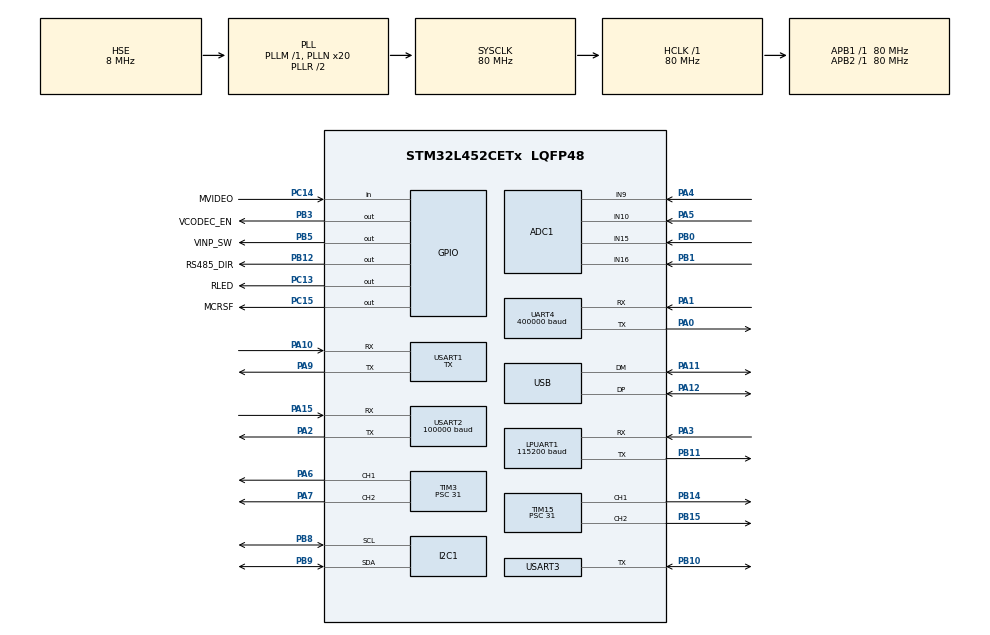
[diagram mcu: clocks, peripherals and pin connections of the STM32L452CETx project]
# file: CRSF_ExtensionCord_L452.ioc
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ADC1.Channel-0\#ChannelRegularConversion=ADC_CHANNEL_9
ADC1.Channel-1\#ChannelRegularConversion=ADC_CHANNEL_10
ADC1.Channel-2\#ChannelRegularConversion=ADC_CHANNEL_15
ADC1.Channel-3\#ChannelRegularConversion=ADC_CHANNEL_16
ADC1.ClockPrescaler=ADC_CLOCK_ASYNC_DIV1
ADC1.ContinuousConvMode=ENABLE
ADC1.DMAContinuousRequests=ENABLE
ADC1.EOCSelection=ADC_EOC_SEQ_CONV
ADC1.NbrOfConversion=4
ADC1.NbrOfConversionFlag=1
ADC1.OffsetNumber-0\#ChannelRegularConversion=ADC_OFFSET_NONE
ADC1.OffsetNumber-1\#ChannelRegularConversion=ADC_OFFSET_NONE
ADC1.OffsetNumber-2\#ChannelRegularConversion=ADC_OFFSET_NONE
ADC1.OffsetNumber-3\#ChannelRegularConversion=ADC_OFFSET_NONE
ADC1.OversamplingMode=DISABLE
ADC1.Rank-0\#ChannelRegularConversion=1
ADC1.Rank-1\#ChannelRegularConversion=2
ADC1.Rank-2\#ChannelRegularConversion=3
ADC1.Rank-3\#ChannelRegularConversion=4
ADC1.SamplingTime-0\#ChannelRegularConversion=ADC_SAMPLETIME_640CYCLES_5
ADC1.SamplingTime-1\#ChannelRegularConversion=ADC_SAMPLETIME_640CYCLES_5
ADC1.SamplingTime-2\#ChannelRegularConversion=ADC_SAMPLETIME_640CYCLES_5
ADC1.SamplingTime-3\#ChannelRegularConversion=ADC_SAMPLETIME_640CYCLES_5
ADC1.master=1
Dma.ADC1.6.Direction=DMA_PERIPH_TO_MEMORY
Dma.ADC1.6.Instance=DMA1_Channel1
Dma.ADC1.6.MemDataAlignment=DMA_MDATAALIGN_HALFWORD
Dma.ADC1.6.MemInc=DMA_MINC_ENABLE
Dma.ADC1.6.Mode=DMA_CIRCULAR
Dma.ADC1.6.PeriphDataAlignment=DMA_PDATAALIGN_HALFWORD
Dma.ADC1.6.PeriphInc=DMA_PINC_DISABLE
Dma.ADC1.6.Priority=DMA_PRIORITY_LOW
Dma.LPUART_TX.2.Direction=DMA_MEMORY_TO_PERIPH
Dma.LPUART_TX.2.Instance=DMA2_Channel6
Dma.LPUART_TX.2.MemDataAlignment=DMA_MDATAALIGN_BYTE
Dma.LPUART_TX.2.MemInc=DMA_MINC_ENABLE
Dma.LPUART_TX.2.Mode=DMA_NORMAL
Dma.LPUART_TX.2.PeriphDataAlignment=DMA_PDATAALIGN_BYTE
Dma.LPUART_TX.2.PeriphInc=DMA_PINC_DISABLE
Dma.LPUART_TX.2.Priority=DMA_PRIORITY_LOW
Dma.Request0=UART4_RX
Dma.Request1=UART4_TX
Dma.Request2=LPUART_TX
Dma.Request3=USART1_TX
Dma.Request4=USART2_RX
Dma.Request5=USART2_TX
Dma.Request6=ADC1
Dma.Request7=USART3_RX
Dma.Request8=USART3_TX
Dma.UART4_RX.0.Direction=DMA_PERIPH_TO_MEMORY
Dma.UART4_RX.0.Instance=DMA2_Channel5
Dma.UART4_RX.0.MemDataAlignment=DMA_MDATAALIGN_BYTE
Dma.UART4_RX.0.MemInc=DMA_MINC_ENABLE
Dma.UART4_RX.0.Mode=DMA_NORMAL
Dma.UART4_RX.0.PeriphDataAlignment=DMA_PDATAALIGN_BYTE
Dma.UART4_RX.0.PeriphInc=DMA_PINC_DISABLE
Dma.UART4_RX.0.Priority=DMA_PRIORITY_LOW
Dma.UART4_TX.1.Direction=DMA_MEMORY_TO_PERIPH
Dma.UART4_TX.1.Instance=DMA2_Channel3
Dma.UART4_TX.1.MemDataAlignment=DMA_MDATAALIGN_BYTE
Dma.UART4_TX.1.MemInc=DMA_MINC_ENABLE
Dma.UART4_TX.1.Mode=DMA_NORMAL
Dma.UART4_TX.1.PeriphDataAlignment=DMA_PDATAALIGN_BYTE
Dma.UART4_TX.1.PeriphInc=DMA_PINC_DISABLE
Dma.UART4_TX.1.Priority=DMA_PRIORITY_LOW
Dma.USART1_TX.3.Direction=DMA_MEMORY_TO_PERIPH
Dma.USART1_TX.3.Instance=DMA1_Channel4
Dma.USART1_TX.3.MemDataAlignment=DMA_MDATAALIGN_BYTE
Dma.USART1_TX.3.MemInc=DMA_MINC_ENABLE
Dma.USART1_TX.3.Mode=DMA_NORMAL
Dma.USART1_TX.3.PeriphDataAlignment=DMA_PDATAALIGN_BYTE
Dma.USART1_TX.3.PeriphInc=DMA_PINC_DISABLE
Dma.USART1_TX.3.Priority=DMA_PRIORITY_LOW
Dma.USART2_RX.4.Direction=DMA_PERIPH_TO_MEMORY
Dma.USART2_RX.4.Instance=DMA1_Channel6
Dma.USART2_RX.4.MemDataAlignment=DMA_MDATAALIGN_BYTE
Dma.USART2_RX.4.MemInc=DMA_MINC_ENABLE
Dma.USART2_RX.4.Mode=DMA_NORMAL
Dma.USART2_RX.4.PeriphDataAlignment=DMA_PDATAALIGN_BYTE
Dma.USART2_RX.4.PeriphInc=DMA_PINC_DISABLE
Dma.USART2_RX.4.Priority=DMA_PRIORITY_LOW
Dma.USART2_TX.5.Direction=DMA_MEMORY_TO_PERIPH
Dma.USART2_TX.5.Instance=DMA1_Channel7
Dma.USART2_TX.5.MemDataAlignment=DMA_MDATAALIGN_BYTE
Dma.USART2_TX.5.MemInc=DMA_MINC_ENABLE
Dma.USART2_TX.5.Mode=DMA_NORMAL
Dma.USART2_TX.5.PeriphDataAlignment=DMA_PDATAALIGN_BYTE
Dma.USART2_TX.5.PeriphInc=DMA_PINC_DISABLE
Dma.USART2_TX.5.Priority=DMA_PRIORITY_LOW
Dma.USART3_RX.7.Direction=DMA_PERIPH_TO_MEMORY
Dma.USART3_RX.7.Instance=DMA1_Channel3
Dma.USART3_RX.7.MemDataAlignment=DMA_MDATAALIGN_BYTE
Dma.USART3_RX.7.MemInc=DMA_MINC_ENABLE
Dma.USART3_RX.7.Mode=DMA_NORMAL
Dma.USART3_RX.7.PeriphDataAlignment=DMA_PDATAALIGN_BYTE
Dma.USART3_RX.7.PeriphInc=DMA_PINC_DISABLE
Dma.USART3_RX.7.Priority=DMA_PRIORITY_LOW
Dma.USART3_TX.8.Direction=DMA_MEMORY_TO_PERIPH
Dma.USART3_TX.8.Instance=DMA1_Channel2
Dma.USART3_TX.8.MemDataAlignment=DMA_MDATAALIGN_BYTE
Dma.USART3_TX.8.MemInc=DMA_MINC_ENABLE
Dma.USART3_TX.8.Mode=DMA_NORMAL
Dma.USART3_TX.8.PeriphDataAlignment=DMA_PDATAALIGN_BYTE
Dma.USART3_TX.8.PeriphInc=DMA_PINC_DISABLE
Dma.USART3_TX.8.Priority=DMA_PRIORITY_LOW
I2C1.Timing=0x10909CEC
LPUART1.BaudRate=115200
LPUART1.Mode=UART_MODE_TX
LPUART1.WordLength=UART_WORDLENGTH_8B
Mcu.Family=STM32L4
Mcu.Name=STM32L452CETx
Mcu.Package=LQFP48
Mcu.UserConstants=UART_SBUS,$$_USART2_IP_HANDLE_$$;UART_CAM_CTRL,$$_LPUART1_IP_HANDLE_$$;UART_CRSF,$$_UART4_IP_HANDLE_$$;UART_FRQ_CTRL,$$_USART1_IP_HANDLE_$$;UART_485,$$_USART3_IP_HANDLE_$$
NVIC.DMA1_Channel1_IRQn=true\:0\:0\:false\:false\:true\:false\:true\:true
NVIC.DMA1_Channel2_IRQn=true\:0\:0\:false\:false\:true\:false\:true\:true
NVIC.DMA1_Channel3_IRQn=true\:0\:0\:false\:false\:true\:false\:true\:true
NVIC.DMA1_Channel4_IRQn=true\:0\:0\:false\:false\:true\:false\:true\:true
NVIC.DMA1_Channel6_IRQn=true\:0\:0\:false\:false\:true\:false\:true\:true
NVIC.DMA1_Channel7_IRQn=true\:0\:0\:false\:false\:true\:false\:true\:true
NVIC.DMA2_Channel3_IRQn=true\:0\:0\:false\:false\:true\:false\:true\:true
NVIC.DMA2_Channel5_IRQn=true\:0\:0\:false\:false\:true\:false\:true\:true
NVIC.DMA2_Channel6_IRQn=true\:0\:0\:false\:false\:true\:false\:true\:true
NVIC.LPUART1_IRQn=true\:0\:0\:false\:false\:true\:true\:true\:true
NVIC.PriorityGroup=NVIC_PRIORITYGROUP_4
NVIC.UART4_IRQn=true\:0\:0\:false\:false\:true\:true\:true\:true
NVIC.USART1_IRQn=true\:0\:0\:false\:false\:true\:true\:true\:true
NVIC.USART2_IRQn=true\:0\:0\:false\:false\:true\:true\:true\:true
NVIC.USART3_IRQn=true\:0\:0\:false\:false\:true\:true\:true\:true
PA0.Mode=Asynchronous
PA0.Signal=UART4_TX
PA1.Mode=Asynchronous
PA1.Signal=UART4_RX
PA10.Mode=Asynchronous
PA10.Signal=USART1_RX
PA11.Mode=Device
PA11.Signal=USB_DM
PA12.Mode=Device
PA12.Signal=USB_DP
PA13\ (JTMS/SWDIO).GPIO_Label=SWDIO
PA13\ (JTMS/SWDIO).Mode=Serial_Wire
PA13\ (JTMS/SWDIO).Signal=SYS_JTMS-SWDIO
PA14\ (JTCK/SWCLK).GPIO_Label=SWCLK
PA14\ (JTCK/SWCLK).Mode=Serial_Wire
PA14\ (JTCK/SWCLK).Signal=SYS_JTCK-SWCLK
PA15\ (JTDI).Mode=Asynchronous
PA15\ (JTDI).Signal=USART2_RX
PA2.Mode=Asynchronous
PA2.Signal=USART2_TX
PA3.Mode=Asynchronous
PA3.Signal=LPUART1_RX
PA4.Signal=ADCx_IN9
PA5.Signal=ADCx_IN10
PA6.Signal=S_TIM3_CH1
PA7.Signal=S_TIM3_CH2
PA9.Mode=Asynchronous
PA9.Signal=USART1_TX
PB0.Signal=ADCx_IN15
PB1.Signal=ADCx_IN16
PB10.Mode=Half_duplex(single_wire_mode)
PB10.Signal=USART3_TX
PB11.Mode=Asynchronous
PB11.Signal=LPUART1_TX
PB12.GPIO_Label=RS485_DIR
PB12.GPIO_ModeDefaultOutputPP=GPIO_MODE_OUTPUT_PP
PB12.Signal=GPIO_Output
PB14.Signal=S_TIM15_CH1
PB15.Signal=S_TIM15_CH2
PB3\ (JTDO/TRACESWO).GPIO_Label=VCODEC_EN
PB3\ (JTDO/TRACESWO).Signal=GPIO_Output
PB5.GPIO_Label=VINP_SW
PB5.Signal=GPIO_Output
PB8.Mode=I2C
PB8.Signal=I2C1_SCL
PB9.Mode=I2C
PB9.Signal=I2C1_SDA
PC13.GPIO_Label=RLED
PC13.PinState=GPIO_PIN_SET
PC13.Signal=GPIO_Output
PC14-OSC32_IN\ (PC14).GPIO_Label=MVIDEO
PC14-OSC32_IN\ (PC14).Signal=GPIO_Input
PC15-OSC32_OUT\ (PC15).GPIO_Label=MCRSF
PC15-OSC32_OUT\ (PC15).GPIO_ModeDefaultOutputPP=GPIO_MODE_OUTPUT_PP
PC15-OSC32_OUT\ (PC15).Signal=GPIO_Output
PH0-OSC_IN\ (PH0).Mode=HSE-External-Oscillator
PH0-OSC_IN\ (PH0).Signal=RCC_OSC_IN
PH1-OSC_OUT\ (PH1).Mode=HSE-External-Oscillator
PH1-OSC_OUT\ (PH1).Signal=RCC_OSC_OUT
ProjectManager.HeapSize=0x200
ProjectManager.StackSize=0x400
ProjectManager.TargetToolchain=STM32CubeIDE
RCC.ADCFreq_Value=48000000
RCC.AHBFreq_Value=80000000
RCC.APB1Freq_Value=80000000
RCC.APB1TimFreq_Value=80000000
RCC.APB2Freq_Value=80000000
RCC.APB2TimFreq_Value=80000000
RCC.CortexFreq_Value=80000000
RCC.HCLKFreq_Value=80000000
RCC.HSE_VALUE=8000000
RCC.HSI48_VALUE=48000000
RCC.HSI_VALUE=16000000
RCC.LSE_VALUE=32768
RCC.MSI_VALUE=4000000
RCC.PLLN=20
RCC.PLLSAI1N=12
RCC.PLLSourceVirtual=RCC_PLLSOURCE_HSE
RCC.SYSCLKFreq_VALUE=80000000
RCC.SYSCLKSource=RCC_SYSCLKSOURCE_PLLCLK
RCC.USBFreq_Value=48000000
RCC.VCOOutputFreq_Value=160000000
SH.ADCx_IN10.0=ADC1_IN10,IN10-Single-Ended
SH.ADCx_IN15.0=ADC1_IN15,IN15-Single-Ended
SH.ADCx_IN16.0=ADC1_IN16,IN16-Single-Ended
SH.ADCx_IN9.0=ADC1_IN9,IN9-Single-Ended
SH.S_TIM15_CH1.0=TIM15_CH1,PWM Generation1 CH1
SH.S_TIM15_CH2.0=TIM15_CH2,PWM Generation2 CH2
SH.S_TIM3_CH1.0=TIM3_CH1,PWM Generation1 CH1
SH.S_TIM3_CH2.0=TIM3_CH2,PWM Generation2 CH2
TIM15.AutoReloadPreload=TIM_AUTORELOAD_PRELOAD_ENABLE
TIM15.Channel-PWM\ Generation1\ CH1=TIM_CHANNEL_1
TIM15.Channel-PWM\ Generation2\ CH2=TIM_CHANNEL_2
TIM15.OCPolarity_1=TIM_OCPOLARITY_LOW
TIM15.OCPolarity_2=TIM_OCPOLARITY_LOW
TIM15.Period=50000
TIM15.Prescaler=31
TIM15.Pulse-PWM\ Generation1\ CH1=30000
TIM15.Pulse-PWM\ Generation2\ CH2=40000
TIM3.AutoReloadPreload=TIM_AUTORELOAD_PRELOAD_ENABLE
TIM3.Channel-PWM\ Generation1\ CH1=TIM_CHANNEL_1
TIM3.Channel-PWM\ Generation2\ CH2=TIM_CHANNEL_2
TIM3.OCFastMode_PWM-PWM\ Generation1\ CH1=TIM_OCFAST_DISABLE
TIM3.OCFastMode_PWM-PWM\ Generation2\ CH2=TIM_OCFAST_DISABLE
TIM3.OCPolarity_1=TIM_OCPOLARITY_LOW
TIM3.OCPolarity_2=TIM_OCPOLARITY_LOW
TIM3.Period=50000
TIM3.Prescaler=31
TIM3.Pulse-PWM\ Generation1\ CH1=10000
TIM3.Pulse-PWM\ Generation2\ CH2=20000
UART4.BaudRate=400000
UART4.RxPinLevelInvertParam=UART_ADVFEATURE_RXINV_DISABLE
USART1.Mode=MODE_TX
USART1.VirtualMode-Asynchronous=VM_ASYNC
USART2.BaudRate=100000
USART2.Parity=PARITY_EVEN
USART2.RxPinLevelInvertParam=ADVFEATURE_RXINV_ENABLE
USART2.StopBits=STOPBITS_2
USART2.TxPinLevelInvertParam=ADVFEATURE_TXINV_ENABLE
USART2.VirtualMode-Asynchronous=VM_ASYNC
USART2.WordLength=WORDLENGTH_9B
USART3.BaudRate=115201
USART3.Mode=MODE_TX_RX
USART3.StopBits=STOPBITS_1
USART3.VirtualMode-Half_duplex(single_wire_mode)=VM_ASYNC
board=custom

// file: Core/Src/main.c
/* USER CODE BEGIN Header */
/**
  ******************************************************************************
  * @file           : main.c
  * @brief          : Main program body
  ******************************************************************************
  * @attention
  *
  * Copyright (c) 2024 STMicroelectronics.
  * All rights reserved.
  *
  * This software is licensed under terms that can be found in the LICENSE file
  * in the root directory of this software component.
  * If no LICENSE file comes with this software, it is provided AS-IS.
  *
  ******************************************************************************
  */
/* USER CODE END Header */
#include "main.h"

/* USER CODE BEGIN Includes */
#include "codec.h"
#include "camera.h"
#include "filter.h"
#include "ctrl_link.h"
#include <string.h>
//#include "usbd_cdc_if.h"
#include <stdio.h>
/* USER CODE END Includes */

/* USER CODE BEGIN PD */

#define X_RANGE_ENABLED

//CRSF_FRAMETYPE_COMMAND
#define CRSF_FRAMETYPE_LEN 10
const uint8_t uCrsfFrameCommand[] = {0xC8, 0x08, 0x32, 0xEE, 0xEA, 0x10, 0x05, 0x03, 0xA8, 0xC5};

/* USER CODE END PD */

ADC_HandleTypeDef hadc1;
DMA_HandleTypeDef hdma_adc1;

I2C_HandleTypeDef hi2c1;

UART_HandleTypeDef hlpuart1;
UART_HandleTypeDef huart4;
UART_HandleTypeDef huart1;
UART_HandleTypeDef huart2;
UART_HandleTypeDef huart3;
DMA_HandleTypeDef hdma_lpuart_tx;
DMA_HandleTypeDef hdma_uart4_rx;
DMA_HandleTypeDef hdma_uart4_tx;
DMA_HandleTypeDef hdma_usart1_tx;
DMA_HandleTypeDef hdma_usart2_rx;
DMA_HandleTypeDef hdma_usart2_tx;
DMA_HandleTypeDef hdma_usart3_rx;
DMA_HandleTypeDef hdma_usart3_tx;

TIM_HandleTypeDef htim3;
TIM_HandleTypeDef htim15;

PCD_HandleTypeDef hpcd_USB_FS;

/* USER CODE BEGIN PV */
#ifdef TEST_CRSF_TRANSMITTER
static uint8_t		uSbusTxBuffer[SBUS_PACKET_LENGTH];
const uint8_t uTxBuffer[3][CRSF_PACKET_LENGTH] = {
	{0xEE,0x18,0x16,0x12,0xC1,0xCB,0x77,0x8A,0xC4,0x2A,0x89,0xE5,0xED,0x7B,0x45,0x64,0xA5,0x44,0xF3,0xFA,0x5D,0x23,0xB3,0x7A,0xE2,0x55},
	{0xEE,0x18,0x16,0x13,0x77,0x1F,0xF9,0xB8,0x37,0xF1,0x89,0x4F,0xBC,0x15,0xE0,0x13,0x1E,0xF8,0xC0,0x07,0x3E,0xF0,0x81,0x0F,0x7C,0xDF},
	{0xEE,0x18,0x16,0x40,0x74,0x1F,0xF9,0xB6,0x37,0xF1,0x89,0x4F,0xBC,0x15,0xE0,0x1B,0x1E,0xF8,0xC0,0x07,0x3E,0xF0,0x81,0x0F,0x7C,0xCD}
};
#else
static uint8_t		uTxBuffer[CRSF_PACKET_LENGTH];
#endif
//static uint8_t		uExtendedTxBuffer[EXTENDED_CRSF_PACKET_LENGTH];
static uint8_t		uCrsfRxBuffer[200];
static uint8_t		uLinkRxBuffer[200];

static uint8_t		uSbusRxBuffer[SBUS_PACKET_LENGTH + 1];

uint16_t	uAdcBuf[4];

static sSbusPacketStr sCameraCtrlSbusPacketDecoder;
#define RADIO_CODE_CH_CNT	8
volatile sFreqCodeStr sFreqCode = {1000, 1000};

typedef struct{
	uint32_t	low_frq;
	uint32_t	hi_frq;
	uint8_t		frq_code[6];
}sRadioCodeStr;

typedef struct{
	uint8_t			uRadioSincro[6];
	sRadioCodeStr	sRadioCodeR[RADIO_CODE_CH_CNT];
	sRadioCodeStr	sRadioCodeL[RADIO_CODE_CH_CNT];
#ifdef X_RANGE_ENABLED
	sRadioCodeStr	sRadioCodeX[RADIO_CODE_CH_CNT];
#endif
	uint32_t		uRangeR[2];
	uint32_t		uRangeL[2];
#ifdef X_RANGE_ENABLED
	uint32_t		uRangeX[2];
#endif
}sRadioFreqStr;

const sRadioFreqStr sRadioFreq = {
		.uRadioSincro = {0x02, 0x06, 0x33, 0x80, 0xB5, 0x03},
		.sRadioCodeR = {

				{172 , 420 , {0x02,	0x06,	0x31,	0x20,	0x17,	0x03}},
				{426 , 649 , {0x02,	0x06,	0x31,	0x21,	0x16,	0x03}},
				{655 , 879 , {0x02,	0x06,	0x31,	0x22,	0x15,	0x03}},
				{886 , 1107, {0x02,	0x06,	0x31,	0x23,	0x14,	0x03}},
				{1115, 1337, {0x02,	0x06,	0x31,	0x24,	0x13,	0x03}},
				{1344, 1566, {0x02,	0x06,	0x31,	0x25,	0x12,	0x03}},
				{1573, 1787, {0x02,	0x06,	0x31,	0x26,	0x11,	0x03}},
				{1793, 1811, {0x02,	0x06,	0x31,	0x27,	0x10,	0x03}}
		},
#ifdef X_RANGE_ENABLED
		.sRadioCodeX = {
				{172 , 420 , {0x02, 0x06, 0x31, 0x30, 0x07, 0x03}},
				{426 , 649 , {0x02, 0x06, 0x31, 0x31, 0x06, 0x03}},
				{655 , 879 , {0x02, 0x06, 0x31, 0x32, 0x05, 0x03}},
				{886 , 1107, {0x02, 0x06, 0x31, 0x33, 0x04, 0x03}},
				{1115, 1337, {0x02, 0x06, 0x31, 0x34, 0x03, 0x03}},
				{1344, 1566, {0x02, 0x06, 0x31, 0x35, 0x02, 0x03}},
				{1573, 1787, {0x02, 0x06, 0x31, 0x36, 0x01, 0x03}},
				{1793, 1811, {0x02, 0x06, 0x31, 0x37, 0x00, 0x03}}

		},
#endif
		.sRadioCodeL = {
				{172 , 420 , {0x02,	0x06,	0x31,	0x28,	0x1F,	0x03}},
				{426 , 649 , {0x02,	0x06,	0x31,	0x29,	0x1E,	0x03}},
				{655 , 879 , {0x02,	0x06,	0x31,	0x2A,	0x1D,	0x03}},
				{886 , 1107, {0x02,	0x06,	0x31,	0x2B,	0x1C,	0x03}},
				{1115, 1337, {0x02,	0x06,	0x31,	0x2C,	0x1B,	0x03}},
				{1344, 1566, {0x02,	0x06,	0x31,	0x2D,	0x1A,	0x03}},
				{1573, 1787, {0x02,	0x06,	0x31,	0x2E,	0x19,	0x03}},
				{1793, 1811, {0x02,	0x06,	0x31,	0x2F,	0x18,	0x03}}
		},
		.uRangeR = {911, 1072},
		.uRangeL = {172, 831},
#ifdef X_RANGE_ENABLED
		.uRangeX = {592, 751}
#endif

};
/* USER CODE END PV */

void SystemClock_Config(void);
void PeriphCommonClock_Config(void);
static void MX_GPIO_Init(void);
static void MX_DMA_Init(void);
static void MX_ADC1_Init(void);
static void MX_LPUART1_UART_Init(void);
static void MX_UART4_Init(void);
static void MX_USART1_UART_Init(void);
static void MX_USART2_UART_Init(void);
static void MX_USART3_UART_Init(void);
static void MX_TIM3_Init(void);
static void MX_TIM15_Init(void);
static void MX_USB_PCD_Init(void);
static void MX_I2C1_Init(void);

/* USER CODE BEGIN 0 */

#define ADC_COMPRESS_RATIO_PCT 25.0f

#define ADC_MIN_US 0.0f
#define ADC_MAX_US 4095.0f

#define ADC_MIN_CMPR_US (ADC_MIN_US + (ADC_MAX_US - ADC_MIN_US) / 100 * ADC_COMPRESS_RATIO_PCT)
#define ADC_MAX_CMPR_US (ADC_MAX_US - (ADC_MAX_US - ADC_MIN_US) / 100 * ADC_COMPRESS_RATIO_PCT)
#define ADC_SCF 		((ADC_MAX_US - ADC_MIN_US)/(ADC_MAX_CMPR_US - ADC_MIN_CMPR_US))

void HAL_ADC_ConvCpltCallback(ADC_HandleTypeDef* hadc){
	uint16_t uAdcTemp[4];
	for(int i = 0; i < 4; i++) uAdcTemp[i] = (uint16_t)uAdcBuf[i];
//------------------------ ADC ch0 Input range compressing --------------------------------------
	if(uAdcTemp[0] <= ADC_MIN_CMPR_US) uAdcTemp[0] = ADC_MIN_CMPR_US;
	if(uAdcTemp[0] >= ADC_MAX_CMPR_US) uAdcTemp[0] = ADC_MAX_CMPR_US;
	uAdcTemp[0] = (uint16_t)(((float)uAdcTemp[0] - ADC_MIN_CMPR_US) * ADC_SCF);
	memcpy((uint8_t*)uAdcData,(uint8_t*)uAdcTemp, sizeof(uAdcTemp));
//----------------------------------------------------------------------------------------------
	movingAvgFlt(uAdcData);
}

void HAL_UARTEx_RxEventCallback(UART_HandleTypeDef *huart, uint16_t Size){
	uint8_t		crc = 0;
	if(huart == &UART_SBUS){
		static sExtendedCrsfPacketStr 	ecrsf;
		if((Size == sizeof(sSbusPacketStr)) && (uGetCorddSide() == rc_side)){
			if( (((sSbusPacketStr*)uSbusRxBuffer)->header == 0x0F) && (((sSbusPacketStr*)uSbusRxBuffer)->footer == 0x00) ){
				vCtrlLinkEncoderRCside		(uAdcData, &ecrsf, (sSbusPacketStr*)uSbusRxBuffer);
				vCtrlLinkTransmitRC_Side(&ecrsf);
			}
		}
		HAL_UARTEx_ReceiveToIdle_DMA(&UART_SBUS, uSbusRxBuffer, sizeof(uSbusRxBuffer));
	}
	else if(huart == &UART_485){
		if((Size == sizeof(sExtendedCrsfPacketStr)) && (uGetCorddSide() == rf_side)){
			if(((sExtendedCrsfPacketStr*)uLinkRxBuffer)->type ==  EXT_CTRL_LINK_PACKET_TYPE){ 	// ExtCRSF packet.CODER side
				crc = crc8_dvb_s2(0, ((sExtendedCrsfPacketStr*)uLinkRxBuffer)->type);	// CRC includes type and payload
				for (int i = 0; i < ((sExtendedCrsfPacketStr*)uLinkRxBuffer)->length - 2; ++i)
					crc = crc8_dvb_s2(crc, ((uint8_t*)&(((sExtendedCrsfPacketStr*)uLinkRxBuffer)->pld)) [i] );
				if(crc == ((sExtendedCrsfPacketStr*)uLinkRxBuffer)->crc){
					vCtrlLinkDecoderRFside((sExtendedCrsfPacketStr*)uLinkRxBuffer, &sCameraCtrlSbusPacketDecoder);
				}
			}
		}
		HAL_UARTEx_ReceiveToIdle_DMA(&UART_485, uLinkRxBuffer, sizeof(uLinkRxBuffer));
	}
	else if(huart == &UART_CRSF){
		static sSbusPacketStr 	sbus;
		if((Size == sizeof(sCrsfPacketStr)) && (uGetCorddSide() == rf_side)){
			if(((sCrsfPacketStr*)uCrsfRxBuffer)->type ==  CRSF_PACKET_TYPE){ 	// CRSF packet.CODER side
				crc = crc8_dvb_s2(0, ((sCrsfPacketStr*)uCrsfRxBuffer)->type);	// CRC includes type and payload
				for (int i = 0; i < CRSF_PAYLOAD_LENGTH; ++i)	crc = crc8_dvb_s2(crc, ((sCrsfPacketStr*)uCrsfRxBuffer)->payload[i]);
				if(crc == ((sCrsfPacketStr*)uCrsfRxBuffer)->crc){
					memcpy(uTxBuffer, uCrsfRxBuffer, sizeof(uTxBuffer));
					sFreqCode = vCrsfDecoderRFside((sCrsfPacketStr*)uCrsfRxBuffer, &sbus);
					HAL_UART_Transmit_DMA(&UART_SBUS, (uint8_t*)&sbus, sizeof(sSbusPacketStr));
				}
			}
		}
		HAL_UARTEx_ReceiveToIdle_DMA(&UART_CRSF, (uint8_t*)uCrsfRxBuffer, sizeof(uCrsfRxBuffer));
	}
}

void HAL_UART_ErrorCallback(UART_HandleTypeDef *UartHandle){
	if(UartHandle == &UART_CRSF){
		__HAL_UART_CLEAR_PEFLAG(&UART_CRSF);
		__HAL_UART_CLEAR_OREFLAG(&UART_CRSF);
		__HAL_UART_CLEAR_FEFLAG(&UART_CRSF);
		__HAL_UART_CLEAR_NEFLAG(&UART_CRSF);
		__HAL_UART_CLEAR_IDLEFLAG(&UART_CRSF);
		HAL_UARTEx_ReceiveToIdle_DMA(&UART_CRSF, uCrsfRxBuffer, sizeof(uCrsfRxBuffer));
	}
	else if(UartHandle == &UART_SBUS){
		__HAL_UART_CLEAR_PEFLAG(&UART_SBUS);
		__HAL_UART_CLEAR_OREFLAG(&UART_SBUS);
		__HAL_UART_CLEAR_FEFLAG(&UART_SBUS);
		__HAL_UART_CLEAR_NEFLAG(&UART_SBUS);
		__HAL_UART_CLEAR_IDLEFLAG(&UART_SBUS);
		HAL_UARTEx_ReceiveToIdle_DMA(&UART_SBUS, uSbusRxBuffer, sizeof(uSbusRxBuffer));
	}
	else if(UartHandle == &UART_485){
		__HAL_UART_CLEAR_PEFLAG		(&UART_485);
		__HAL_UART_CLEAR_OREFLAG	(&UART_485);
		__HAL_UART_CLEAR_FEFLAG		(&UART_485);
		__HAL_UART_CLEAR_NEFLAG		(&UART_485);
		__HAL_UART_CLEAR_IDLEFLAG	(&UART_485);
		HAL_UARTEx_ReceiveToIdle_DMA(&UART_485, uLinkRxBuffer, sizeof(uLinkRxBuffer));
	}

}

void HAL_UART_TxCpltCallback(UART_HandleTypeDef *huart){
	if(huart == &UART_485){
		vTxCmplete();
	}
}
/* USER CODE END 0 */

int main(void)
{

  /* USER CODE BEGIN 1 */
	static volatile uint32_t delay_cycle = 0;
  /* USER CODE END 1 */

  /* MCU Configuration--------------------------------------------------------*/

  /* Reset of all peripherals, Initializes the Flash interface and the Systick. */
  HAL_Init();

  /* Configure the system clock */
  SystemClock_Config();

  /* Configure the peripherals common clocks */
  PeriphCommonClock_Config();

  /* Initialize all configured peripherals */
  MX_GPIO_Init();
  MX_DMA_Init();
  MX_ADC1_Init();
  MX_LPUART1_UART_Init();
  MX_UART4_Init();
  MX_USART1_UART_Init();
  MX_USART2_UART_Init();
  MX_USART3_UART_Init();
  MX_TIM3_Init();
  MX_TIM15_Init();
  MX_USB_PCD_Init();
  MX_I2C1_Init();
  /* USER CODE BEGIN 2 */

  HAL_Delay(100);
  HAL_TIM_PWM_Start(&htim3, TIM_CHANNEL_1);
  HAL_TIM_PWM_Start(&htim3, TIM_CHANNEL_2);
  HAL_TIM_PWM_Start(&htim15, TIM_CHANNEL_1);
  HAL_TIM_PWM_Start(&htim15, TIM_CHANNEL_2);

#ifdef TEST_CRSF_TRANSMITTER
	HAL_ADC_Start_DMA (&hadc1, uAdcBuf, 4);
	while (1){
		static uint32_t c = 0;
		HAL_UART_Transmit(&UART_CRSF, (uint8_t*)&uTxBuffer[c][0], CRSF_PACKET_LENGTH, 5);
		if(c++ >= 2) c = 0;

		HAL_Delay(3);
		HAL_UART_Transmit(&UART_CRSF, uCrsfFrameCommand, sizeof(uCrsfFrameCommand), 5);
		HAL_Delay(1);

		vTestSbusPacketInit((sSbusPacketStr*)uSbusTxBuffer, uAdcData);
		HAL_UART_Transmit_DMA(&UART_SBUS, uSbusTxBuffer, sizeof(sSbusPacketStr));
	}
#else
	HAL_UARTEx_ReceiveToIdle_DMA(&UART_CRSF, uCrsfRxBuffer, sizeof(uCrsfRxBuffer));
//---- SBUS data receiving ----
	HAL_UARTEx_ReceiveToIdle_DMA(&UART_SBUS, uSbusRxBuffer, sizeof(uSbusRxBuffer));
//---- RS485 data receiving ----
	HAL_UARTEx_ReceiveToIdle_DMA(&UART_485,	 uLinkRxBuffer, sizeof(uLinkRxBuffer));
//-----------------------------
	HAL_ADC_Start_DMA (&hadc1, (uint32_t*)uAdcBuf, 4);
  /* USER CODE END 2 */

  /* Infinite loop */
  /* USER CODE BEGIN WHILE */
  while (1)
  {
	  if(uGetCorddSide() == rf_side/*HAL_GPIO_ReadPin(MVIDEO_GPIO_Port, MVIDEO_Pin)*/){ 		// RF side. RLED- ON
		  HAL_GPIO_WritePin(RLED_GPIO_Port, RLED_Pin, 0);
		  HAL_GPIO_WritePin(MCRSF_GPIO_Port, MCRSF_Pin, 0);		// CRSF packets bypass uC

	  }
	  else{														// Remote control side. GLED - OFF
		  HAL_GPIO_WritePin(RLED_GPIO_Port, RLED_Pin, 1);
#ifdef CRSF_DIRECT_LINK
		  HAL_GPIO_WritePin(MCRSF_GPIO_Port, MCRSF_Pin, 0);		// CRSF packets go through uC
#else
		  HAL_GPIO_WritePin(MCRSF_GPIO_Port, MCRSF_Pin, 1);		// CRSF packets go through uC
#endif
	  }
	  HAL_GPIO_WritePin(VCODEC_EN_GPIO_Port, VCODEC_EN_Pin, 0);	// Disable external video decoder

    /* USER CODE END WHILE */

    /* USER CODE BEGIN 3 */
//------------------ Enable Alternative USART1 output USART1_TX = PB6 ---------------------------------------------------------
//		vUSART1_PinRemap(usart1_tx_pb6);
		vConvertSbusToCameraProtocol(&sCameraCtrlSbusPacketDecoder);
//		vUSART1_PinRemap(usart1_tx_pa9);
//------------------ Disable Alternative USART1 output USART1_TX = PA9 ---------------------------------------------------------
		if(delay_cycle == 50){	// 0.5s
			HAL_UART_Transmit_DMA(&UART_FRQ_CTRL, sRadioFreq.uRadioSincro, sizeof(sRadioFreq.uRadioSincro));
		}
		if(delay_cycle == 100){ // 1s
			volatile uint32_t uFreqCodeCopy;
			volatile uint32_t uFreqCodeRangeCopy;
				uFreqCodeCopy		= sFreqCode.uFreqCode;
				uFreqCodeRangeCopy	= sFreqCode.uFreqCodeRange;
				if((uFreqCodeRangeCopy >= sRadioFreq.uRangeR[0]) && (uFreqCodeRangeCopy <= sRadioFreq.uRangeR[1])){ // R - range
					for(int i = 0; i < RADIO_CODE_CH_CNT; i++){
						if((uFreqCodeCopy >= sRadioFreq.sRadioCodeR[i].low_frq) && (uFreqCodeCopy <= sRadioFreq.sRadioCodeR[i].hi_frq)){
							HAL_UART_Transmit_DMA(&UART_FRQ_CTRL, sRadioFreq.sRadioCodeR[i].frq_code, sizeof(sRadioFreq.sRadioCodeR[i].frq_code));
						}
					}
				}
				else if((uFreqCodeRangeCopy >= sRadioFreq.uRangeL[0]) && (uFreqCodeRangeCopy <= sRadioFreq.uRangeL[1])){ // L - range
					for(int i = 0; i < RADIO_CODE_CH_CNT; i++){
						if((uFreqCodeCopy >= sRadioFreq.sRadioCodeL[i].low_frq) && (uFreqCodeCopy <= sRadioFreq.sRadioCodeL[i].hi_frq)){
							HAL_UART_Transmit_DMA(&UART_FRQ_CTRL, sRadioFreq.sRadioCodeL[i].frq_code, sizeof(sRadioFreq.sRadioCodeL[i].frq_code));
						}
					}
				}
#ifdef X_RANGE_ENABLED
				else if((uFreqCodeRangeCopy >= sRadioFreq.uRangeX[0]) && (uFreqCodeRangeCopy <= sRadioFreq.uRangeX[1])){ // X - range
					for(int i = 0; i < RADIO_CODE_CH_CNT; i++){
						if((uFreqCodeCopy >= sRadioFreq.sRadioCodeX[i].low_frq) && (uFreqCodeCopy <= sRadioFreq.sRadioCodeX[i].hi_frq)){
							HAL_UART_Transmit_DMA(&UART_FRQ_CTRL, sRadioFreq.sRadioCodeX[i].frq_code, sizeof(sRadioFreq.sRadioCodeX[i].frq_code));
						}
					}
				}
#endif

		}
		if(++delay_cycle > 100)	delay_cycle = 0;
		HAL_Delay(10 - 3);// 3 - correction. The required latency should be 10ms.
  }
#endif
  /* USER CODE END 3 */
}

void SystemClock_Config(void)
{
  RCC_OscInitTypeDef RCC_OscInitStruct = {0};
  RCC_ClkInitTypeDef RCC_ClkInitStruct = {0};

  /** Configure the main internal regulator output voltage
  */
  if (HAL_PWREx_ControlVoltageScaling(PWR_REGULATOR_VOLTAGE_SCALE1) != HAL_OK)
  {
    Error_Handler();
  }

  /** Initializes the RCC Oscillators according to the specified parameters
  * in the RCC_OscInitTypeDef structure.
  */
  RCC_OscInitStruct.OscillatorType = RCC_OSCILLATORTYPE_HSE;
  RCC_OscInitStruct.HSEState = RCC_HSE_ON;
  RCC_OscInitStruct.PLL.PLLState = RCC_PLL_ON;
  RCC_OscInitStruct.PLL.PLLSource = RCC_PLLSOURCE_HSE;
  RCC_OscInitStruct.PLL.PLLM = 1;
  RCC_OscInitStruct.PLL.PLLN = 20;
  RCC_OscInitStruct.PLL.PLLP = RCC_PLLP_DIV7;
  RCC_OscInitStruct.PLL.PLLQ = RCC_PLLQ_DIV2;
  RCC_OscInitStruct.PLL.PLLR = RCC_PLLR_DIV2;
  if (HAL_RCC_OscConfig(&RCC_OscInitStruct) != HAL_OK)
  {
    Error_Handler();
  }

  /** Initializes the CPU, AHB and APB buses clocks
  */
  RCC_ClkInitStruct.ClockType = RCC_CLOCKTYPE_HCLK|RCC_CLOCKTYPE_SYSCLK
                              |RCC_CLOCKTYPE_PCLK1|RCC_CLOCKTYPE_PCLK2;
  RCC_ClkInitStruct.SYSCLKSource = RCC_SYSCLKSOURCE_PLLCLK;
  RCC_ClkInitStruct.AHBCLKDivider = RCC_SYSCLK_DIV1;
  RCC_ClkInitStruct.APB1CLKDivider = RCC_HCLK_DIV1;
  RCC_ClkInitStruct.APB2CLKDivider = RCC_HCLK_DIV1;

  if (HAL_RCC_ClockConfig(&RCC_ClkInitStruct, FLASH_LATENCY_4) != HAL_OK)
  {
    Error_Handler();
  }
}

void PeriphCommonClock_Config(void)
{
  RCC_PeriphCLKInitTypeDef PeriphClkInit = {0};

  /** Initializes the peripherals clock
  */
  PeriphClkInit.PeriphClockSelection = RCC_PERIPHCLK_USB|RCC_PERIPHCLK_ADC;
  PeriphClkInit.AdcClockSelection = RCC_ADCCLKSOURCE_PLLSAI1;
  PeriphClkInit.UsbClockSelection = RCC_USBCLKSOURCE_PLLSAI1;
  PeriphClkInit.PLLSAI1.PLLSAI1Source = RCC_PLLSOURCE_HSE;
  PeriphClkInit.PLLSAI1.PLLSAI1M = 1;
  PeriphClkInit.PLLSAI1.PLLSAI1N = 12;
  PeriphClkInit.PLLSAI1.PLLSAI1P = RCC_PLLP_DIV7;
  PeriphClkInit.PLLSAI1.PLLSAI1Q = RCC_PLLQ_DIV2;
  PeriphClkInit.PLLSAI1.PLLSAI1R = RCC_PLLR_DIV2;
  PeriphClkInit.PLLSAI1.PLLSAI1ClockOut = RCC_PLLSAI1_48M2CLK|RCC_PLLSAI1_ADC1CLK;
  if (HAL_RCCEx_PeriphCLKConfig(&PeriphClkInit) != HAL_OK)
  {
    Error_Handler();
  }
}

static void MX_ADC1_Init(void)
{

  ADC_ChannelConfTypeDef sConfig = {0};

  /** Common config
  */
  hadc1.Instance = ADC1;
  hadc1.Init.ClockPrescaler = ADC_CLOCK_ASYNC_DIV1;
  hadc1.Init.Resolution = ADC_RESOLUTION_12B;
  hadc1.Init.DataAlign = ADC_DATAALIGN_RIGHT;
  hadc1.Init.ScanConvMode = ADC_SCAN_ENABLE;
  hadc1.Init.EOCSelection = ADC_EOC_SEQ_CONV;
  hadc1.Init.LowPowerAutoWait = DISABLE;
  hadc1.Init.ContinuousConvMode = ENABLE;
  hadc1.Init.NbrOfConversion = 4;
  hadc1.Init.DiscontinuousConvMode = DISABLE;
  hadc1.Init.ExternalTrigConv = ADC_SOFTWARE_START;
  hadc1.Init.ExternalTrigConvEdge = ADC_EXTERNALTRIGCONVEDGE_NONE;
  hadc1.Init.DMAContinuousRequests = ENABLE;
  hadc1.Init.Overrun = ADC_OVR_DATA_PRESERVED;
  hadc1.Init.OversamplingMode = DISABLE;
  if (HAL_ADC_Init(&hadc1) != HAL_OK)
  {
    Error_Handler();
  }

  /** Configure Regular Channel
  */
  sConfig.Channel = ADC_CHANNEL_9;
  sConfig.Rank = ADC_REGULAR_RANK_1;
  sConfig.SamplingTime = ADC_SAMPLETIME_640CYCLES_5;
  sConfig.SingleDiff = ADC_SINGLE_ENDED;
  sConfig.OffsetNumber = ADC_OFFSET_NONE;
  sConfig.Offset = 0;
  if (HAL_ADC_ConfigChannel(&hadc1, &sConfig) != HAL_OK)
  {
    Error_Handler();
  }

  /** Configure Regular Channel
  */
  sConfig.Channel = ADC_CHANNEL_10;
  sConfig.Rank = ADC_REGULAR_RANK_2;
  if (HAL_ADC_ConfigChannel(&hadc1, &sConfig) != HAL_OK)
  {
    Error_Handler();
  }

  /** Configure Regular Channel
  */
  sConfig.Channel = ADC_CHANNEL_15;
  sConfig.Rank = ADC_REGULAR_RANK_3;
  if (HAL_ADC_ConfigChannel(&hadc1, &sConfig) != HAL_OK)
  {
    Error_Handler();
  }

  /** Configure Regular Channel
  */
  sConfig.Channel = ADC_CHANNEL_16;
  sConfig.Rank = ADC_REGULAR_RANK_4;
  if (HAL_ADC_ConfigChannel(&hadc1, &sConfig) != HAL_OK)
  {
    Error_Handler();
  }

}

static void MX_I2C1_Init(void)
{

  hi2c1.Instance = I2C1;
  hi2c1.Init.Timing = 0x10909CEC;
  hi2c1.Init.OwnAddress1 = 0;
  hi2c1.Init.AddressingMode = I2C_ADDRESSINGMODE_7BIT;
  hi2c1.Init.DualAddressMode = I2C_DUALADDRESS_DISABLE;
  hi2c1.Init.OwnAddress2 = 0;
  hi2c1.Init.OwnAddress2Masks = I2C_OA2_NOMASK;
  hi2c1.Init.GeneralCallMode = I2C_GENERALCALL_DISABLE;
  hi2c1.Init.NoStretchMode = I2C_NOSTRETCH_DISABLE;
  if (HAL_I2C_Init(&hi2c1) != HAL_OK)
  {
    Error_Handler();
  }

  /** Configure Analogue filter
  */
  if (HAL_I2CEx_ConfigAnalogFilter(&hi2c1, I2C_ANALOGFILTER_ENABLE) != HAL_OK)
  {
    Error_Handler();
  }

  /** Configure Digital filter
  */
  if (HAL_I2CEx_ConfigDigitalFilter(&hi2c1, 0) != HAL_OK)
  {
    Error_Handler();
  }

}

static void MX_LPUART1_UART_Init(void)
{

  hlpuart1.Instance = LPUART1;
  hlpuart1.Init.BaudRate = 115200;
  hlpuart1.Init.WordLength = UART_WORDLENGTH_8B;
  hlpuart1.Init.StopBits = UART_STOPBITS_1;
  hlpuart1.Init.Parity = UART_PARITY_NONE;
  hlpuart1.Init.Mode = UART_MODE_TX;
  hlpuart1.Init.HwFlowCtl = UART_HWCONTROL_NONE;
  hlpuart1.Init.OneBitSampling = UART_ONE_BIT_SAMPLE_DISABLE;
  hlpuart1.AdvancedInit.AdvFeatureInit = UART_ADVFEATURE_NO_INIT;
  if (HAL_UART_Init(&hlpuart1) != HAL_OK)
  {
    Error_Handler();
  }

}

static void MX_UART4_Init(void)
{

  huart4.Instance = UART4;
  huart4.Init.BaudRate = 400000;
  huart4.Init.WordLength = UART_WORDLENGTH_8B;
  huart4.Init.StopBits = UART_STOPBITS_1;
  huart4.Init.Parity = UART_PARITY_NONE;
  huart4.Init.Mode = UART_MODE_TX_RX;
  huart4.Init.HwFlowCtl = UART_HWCONTROL_NONE;
  huart4.Init.OverSampling = UART_OVERSAMPLING_16;
  huart4.Init.OneBitSampling = UART_ONE_BIT_SAMPLE_DISABLE;
  huart4.AdvancedInit.AdvFeatureInit = UART_ADVFEATURE_NO_INIT;
  if (HAL_UART_Init(&huart4) != HAL_OK)
  {
    Error_Handler();
  }

}

static void MX_USART1_UART_Init(void)
{

  huart1.Instance = USART1;
  huart1.Init.BaudRate = 115200;
  huart1.Init.WordLength = UART_WORDLENGTH_8B;
  huart1.Init.StopBits = UART_STOPBITS_1;
  huart1.Init.Parity = UART_PARITY_NONE;
  huart1.Init.Mode = UART_MODE_TX;
  huart1.Init.HwFlowCtl = UART_HWCONTROL_NONE;
  huart1.Init.OverSampling = UART_OVERSAMPLING_16;
  huart1.Init.OneBitSampling = UART_ONE_BIT_SAMPLE_DISABLE;
  huart1.AdvancedInit.AdvFeatureInit = UART_ADVFEATURE_NO_INIT;
  if (HAL_UART_Init(&huart1) != HAL_OK)
  {
    Error_Handler();
  }

}

static void MX_USART2_UART_Init(void)
{

  huart2.Instance = USART2;
  huart2.Init.BaudRate = 100000;
  huart2.Init.WordLength = UART_WORDLENGTH_9B;
  huart2.Init.StopBits = UART_STOPBITS_2;
  huart2.Init.Parity = UART_PARITY_EVEN;
  huart2.Init.Mode = UART_MODE_TX_RX;
  huart2.Init.HwFlowCtl = UART_HWCONTROL_NONE;
  huart2.Init.OverSampling = UART_OVERSAMPLING_16;
  huart2.Init.OneBitSampling = UART_ONE_BIT_SAMPLE_DISABLE;
  huart2.AdvancedInit.AdvFeatureInit = UART_ADVFEATURE_TXINVERT_INIT|UART_ADVFEATURE_RXINVERT_INIT;
  huart2.AdvancedInit.TxPinLevelInvert = UART_ADVFEATURE_TXINV_ENABLE;
  huart2.AdvancedInit.RxPinLevelInvert = UART_ADVFEATURE_RXINV_ENABLE;
  if (HAL_UART_Init(&huart2) != HAL_OK)
  {
    Error_Handler();
  }

}

static void MX_USART3_UART_Init(void)
{

  huart3.Instance = USART3;
  huart3.Init.BaudRate = 115201;
  huart3.Init.WordLength = UART_WORDLENGTH_8B;
  huart3.Init.StopBits = UART_STOPBITS_1;
  huart3.Init.Parity = UART_PARITY_NONE;
  huart3.Init.Mode = UART_MODE_TX_RX;
  huart3.Init.HwFlowCtl = UART_HWCONTROL_NONE;
  huart3.Init.OverSampling = UART_OVERSAMPLING_16;
  huart3.Init.OneBitSampling = UART_ONE_BIT_SAMPLE_DISABLE;
  huart3.AdvancedInit.AdvFeatureInit = UART_ADVFEATURE_NO_INIT;
  if (HAL_HalfDuplex_Init(&huart3) != HAL_OK)
  {
    Error_Handler();
  }

}

static void MX_TIM3_Init(void)
{

  TIM_MasterConfigTypeDef sMasterConfig = {0};
  TIM_OC_InitTypeDef sConfigOC = {0};

  htim3.Instance = TIM3;
  htim3.Init.Prescaler = 31;
  htim3.Init.CounterMode = TIM_COUNTERMODE_UP;
  htim3.Init.Period = 50000;
  htim3.Init.ClockDivision = TIM_CLOCKDIVISION_DIV1;
  htim3.Init.AutoReloadPreload = TIM_AUTORELOAD_PRELOAD_ENABLE;
  if (HAL_TIM_PWM_Init(&htim3) != HAL_OK)
  {
    Error_Handler();
  }
  sMasterConfig.MasterOutputTrigger = TIM_TRGO_RESET;
  sMasterConfig.MasterSlaveMode = TIM_MASTERSLAVEMODE_DISABLE;
  if (HAL_TIMEx_MasterConfigSynchronization(&htim3, &sMasterConfig) != HAL_OK)
  {
    Error_Handler();
  }
  sConfigOC.OCMode = TIM_OCMODE_PWM1;
  sConfigOC.Pulse = 10000;
  sConfigOC.OCPolarity = TIM_OCPOLARITY_LOW;
  sConfigOC.OCFastMode = TIM_OCFAST_DISABLE;
  if (HAL_TIM_PWM_ConfigChannel(&htim3, &sConfigOC, TIM_CHANNEL_1) != HAL_OK)
  {
    Error_Handler();
  }
  sConfigOC.Pulse = 20000;
  if (HAL_TIM_PWM_ConfigChannel(&htim3, &sConfigOC, TIM_CHANNEL_2) != HAL_OK)
  {
    Error_Handler();
  }
  HAL_TIM_MspPostInit(&htim3);

}

static void MX_TIM15_Init(void)
{

  TIM_MasterConfigTypeDef sMasterConfig = {0};
  TIM_OC_InitTypeDef sConfigOC = {0};
  TIM_BreakDeadTimeConfigTypeDef sBreakDeadTimeConfig = {0};

  htim15.Instance = TIM15;
  htim15.Init.Prescaler = 31;
  htim15.Init.CounterMode = TIM_COUNTERMODE_UP;
  htim15.Init.Period = 50000;
  htim15.Init.ClockDivision = TIM_CLOCKDIVISION_DIV1;
  htim15.Init.RepetitionCounter = 0;
  htim15.Init.AutoReloadPreload = TIM_AUTORELOAD_PRELOAD_ENABLE;
  if (HAL_TIM_PWM_Init(&htim15) != HAL_OK)
  {
    Error_Handler();
  }
  sMasterConfig.MasterOutputTrigger = TIM_TRGO_RESET;
  sMasterConfig.MasterSlaveMode = TIM_MASTERSLAVEMODE_DISABLE;
  if (HAL_TIMEx_MasterConfigSynchronization(&htim15, &sMasterConfig) != HAL_OK)
  {
    Error_Handler();
  }
  sConfigOC.OCMode = TIM_OCMODE_PWM1;
  sConfigOC.Pulse = 30000;
  sConfigOC.OCPolarity = TIM_OCPOLARITY_LOW;
  sConfigOC.OCNPolarity = TIM_OCNPOLARITY_HIGH;
  sConfigOC.OCFastMode = TIM_OCFAST_DISABLE;
  sConfigOC.OCIdleState = TIM_OCIDLESTATE_RESET;
  sConfigOC.OCNIdleState = TIM_OCNIDLESTATE_RESET;
  if (HAL_TIM_PWM_ConfigChannel(&htim15, &sConfigOC, TIM_CHANNEL_1) != HAL_OK)
  {
    Error_Handler();
  }
  sConfigOC.Pulse = 40000;
  if (HAL_TIM_PWM_ConfigChannel(&htim15, &sConfigOC, TIM_CHANNEL_2) != HAL_OK)
  {
    Error_Handler();
  }
  sBreakDeadTimeConfig.OffStateRunMode = TIM_OSSR_DISABLE;
  sBreakDeadTimeConfig.OffStateIDLEMode = TIM_OSSI_DISABLE;
  sBreakDeadTimeConfig.LockLevel = TIM_LOCKLEVEL_OFF;
  sBreakDeadTimeConfig.DeadTime = 0;
  sBreakDeadTimeConfig.BreakState = TIM_BREAK_DISABLE;
  sBreakDeadTimeConfig.BreakPolarity = TIM_BREAKPOLARITY_HIGH;
  sBreakDeadTimeConfig.AutomaticOutput = TIM_AUTOMATICOUTPUT_DISABLE;
  if (HAL_TIMEx_ConfigBreakDeadTime(&htim15, &sBreakDeadTimeConfig) != HAL_OK)
  {
    Error_Handler();
  }
  HAL_TIM_MspPostInit(&htim15);

}

static void MX_USB_PCD_Init(void)
{

  hpcd_USB_FS.Instance = USB;
  hpcd_USB_FS.Init.dev_endpoints = 8;
  hpcd_USB_FS.Init.speed = PCD_SPEED_FULL;
  hpcd_USB_FS.Init.phy_itface = PCD_PHY_EMBEDDED;
  hpcd_USB_FS.Init.Sof_enable = DISABLE;
  hpcd_USB_FS.Init.low_power_enable = DISABLE;
  hpcd_USB_FS.Init.lpm_enable = DISABLE;
  hpcd_USB_FS.Init.battery_charging_enable = DISABLE;
  if (HAL_PCD_Init(&hpcd_USB_FS) != HAL_OK)
  {
    Error_Handler();
  }

}

static void MX_DMA_Init(void)
{

  /* DMA controller clock enable */
  __HAL_RCC_DMA2_CLK_ENABLE();
  __HAL_RCC_DMA1_CLK_ENABLE();

  /* DMA interrupt init */
  /* DMA1_Channel1_IRQn interrupt configuration */
  HAL_NVIC_SetPriority(DMA1_Channel1_IRQn, 0, 0);
  HAL_NVIC_EnableIRQ(DMA1_Channel1_IRQn);
  /* DMA1_Channel2_IRQn interrupt configuration */
  HAL_NVIC_SetPriority(DMA1_Channel2_IRQn, 0, 0);
  HAL_NVIC_EnableIRQ(DMA1_Channel2_IRQn);
  /* DMA1_Channel3_IRQn interrupt configuration */
  HAL_NVIC_SetPriority(DMA1_Channel3_IRQn, 0, 0);
  HAL_NVIC_EnableIRQ(DMA1_Channel3_IRQn);
  /* DMA1_Channel4_IRQn interrupt configuration */
  HAL_NVIC_SetPriority(DMA1_Channel4_IRQn, 0, 0);
  HAL_NVIC_EnableIRQ(DMA1_Channel4_IRQn);
  /* DMA1_Channel6_IRQn interrupt configuration */
  HAL_NVIC_SetPriority(DMA1_Channel6_IRQn, 0, 0);
  HAL_NVIC_EnableIRQ(DMA1_Channel6_IRQn);
  /* DMA1_Channel7_IRQn interrupt configuration */
  HAL_NVIC_SetPriority(DMA1_Channel7_IRQn, 0, 0);
  HAL_NVIC_EnableIRQ(DMA1_Channel7_IRQn);
  /* DMA2_Channel3_IRQn interrupt configuration */
  HAL_NVIC_SetPriority(DMA2_Channel3_IRQn, 0, 0);
  HAL_NVIC_EnableIRQ(DMA2_Channel3_IRQn);
  /* DMA2_Channel5_IRQn interrupt configuration */
  HAL_NVIC_SetPriority(DMA2_Channel5_IRQn, 0, 0);
  HAL_NVIC_EnableIRQ(DMA2_Channel5_IRQn);
  /* DMA2_Channel6_IRQn interrupt configuration */
  HAL_NVIC_SetPriority(DMA2_Channel6_IRQn, 0, 0);
  HAL_NVIC_EnableIRQ(DMA2_Channel6_IRQn);

}

static void MX_GPIO_Init(void)
{
  GPIO_InitTypeDef GPIO_InitStruct = {0};

  /* GPIO Ports Clock Enable */
  __HAL_RCC_GPIOC_CLK_ENABLE();
  __HAL_RCC_GPIOH_CLK_ENABLE();
  __HAL_RCC_GPIOA_CLK_ENABLE();
  __HAL_RCC_GPIOB_CLK_ENABLE();

  /*Configure GPIO pin Output Level */
  HAL_GPIO_WritePin(RLED_GPIO_Port, RLED_Pin, GPIO_PIN_SET);

  /*Configure GPIO pin Output Level */
  HAL_GPIO_WritePin(MCRSF_GPIO_Port, MCRSF_Pin, GPIO_PIN_RESET);

  /*Configure GPIO pin Output Level */
  HAL_GPIO_WritePin(GPIOB, RS485_DIR_Pin|VCODEC_EN_Pin|VINP_SW_Pin, GPIO_PIN_RESET);

  /*Configure GPIO pins : RLED_Pin MCRSF_Pin */
  GPIO_InitStruct.Pin = RLED_Pin|MCRSF_Pin;
  GPIO_InitStruct.Mode = GPIO_MODE_OUTPUT_PP;
  GPIO_InitStruct.Pull = GPIO_NOPULL;
  GPIO_InitStruct.Speed = GPIO_SPEED_FREQ_LOW;
  HAL_GPIO_Init(GPIOC, &GPIO_InitStruct);

  /*Configure GPIO pin : MVIDEO_Pin */
  GPIO_InitStruct.Pin = MVIDEO_Pin;
  GPIO_InitStruct.Mode = GPIO_MODE_INPUT;
  GPIO_InitStruct.Pull = GPIO_NOPULL;
  HAL_GPIO_Init(MVIDEO_GPIO_Port, &GPIO_InitStruct);

  /*Configure GPIO pins : RS485_DIR_Pin VCODEC_EN_Pin VINP_SW_Pin */
  GPIO_InitStruct.Pin = RS485_DIR_Pin|VCODEC_EN_Pin|VINP_SW_Pin;
  GPIO_InitStruct.Mode = GPIO_MODE_OUTPUT_PP;
  GPIO_InitStruct.Pull = GPIO_NOPULL;
  GPIO_InitStruct.Speed = GPIO_SPEED_FREQ_LOW;
  HAL_GPIO_Init(GPIOB, &GPIO_InitStruct);

}

void Error_Handler(void)
{
  __disable_irq();
  while (1)
  {
  }
}
